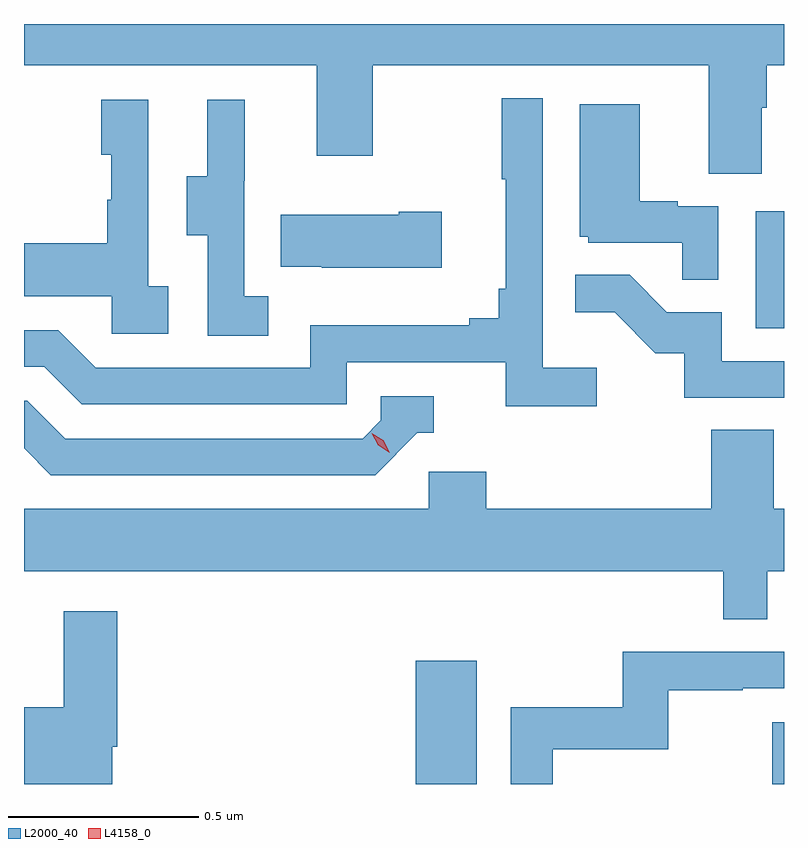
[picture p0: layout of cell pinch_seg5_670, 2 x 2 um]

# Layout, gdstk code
import gdstk
lib = gdstk.Library(unit=1e-6, precision=1e-09)
def R(c, l, rs):  # rectangles x0, y0, x1, y1
    for r in rs: c.add(gdstk.rectangle(r[:2], r[2:], *l))
def P(c, l, *ps):  # polygons
    for p in ps: c.add(gdstk.Polygon(p, *l))
L2000_40 = (2000, 40)
L4158_0 = (4158, 0)

pinch_seg5_670 = lib.new_cell('pinch_seg5_670')
R(pinch_seg5_670, L2000_40, [(1069.118,833.556,1069.279,833.881), (1070.056,833.556,1070.087,833.718), (1070.012,834.756,1070.087,835.063)])
P(pinch_seg5_670, L2000_40, [(1070.029,835.336),(1070.042,835.336),(1070.042,835.448),(1070.087,835.448),(1070.087,835.556),(1068.087,835.556),(1068.087,835.448),(1068.857,835.448),(1068.857,835.209),(1069.005,835.209),(1069.005,835.448),(1069.889,835.448),(1069.889,835.162),(1070.029,835.162)],
  [(1069.594,834.652),(1069.452,834.652),(1069.452,835.36),(1069.344,835.36),(1069.344,835.147),(1069.355,835.147),(1069.355,834.859),(1069.336,834.859),(1069.336,834.782),(1069.259,834.782),(1069.259,834.763),(1068.84,834.763),(1068.84,834.651),(1068.276,834.651),(1068.177,834.75),(1068.087,834.75),(1068.087,834.654),(1068.14,834.654),(1068.239,834.555),(1068.936,834.555),(1068.936,834.666),(1069.355,834.666),(1069.355,834.55),(1069.594,834.55)],
  [(1068.73,834.839),(1068.666,834.839),(1068.666,835.143),(1068.668,835.143),(1068.668,835.357),(1068.569,835.357),(1068.569,835.155),(1068.515,835.155),(1068.515,835),(1068.57,835),(1068.57,834.736),(1068.73,834.736)],
  [(1068.466,834.866),(1068.414,834.866),(1068.414,835.357),(1068.29,835.357),(1068.29,835.212),(1068.316,835.212),(1068.316,835.094),(1068.306,835.094),(1068.306,834.979),(1068.087,834.979),(1068.087,834.839),(1068.318,834.839),(1068.318,834.741),(1068.466,834.741)],
  [(1069.914,835.077),(1069.808,835.077),(1069.808,835.09),(1069.708,835.09),(1069.708,835.345),(1069.55,835.345),(1069.55,834.996),(1069.572,834.996),(1069.572,834.981),(1069.819,834.981),(1069.819,834.883),(1069.914,834.883)],
  [(1069.186,835.062),(1069.073,835.062),(1069.073,835.054),(1068.763,835.054),(1068.763,834.917),(1068.871,834.917),(1068.871,834.914),(1069.186,834.914)],
  [(1070.087,834.669),(1069.923,834.669),(1069.923,834.798),(1069.779,834.798),(1069.681,834.896),(1069.537,834.896),(1069.537,834.797),(1069.641,834.797),(1069.748,834.69),(1069.825,834.69),(1069.825,834.573),(1070.087,834.573)],
  [(1069.122,834.48),(1069.165,834.48),(1069.165,834.576),(1069.026,834.576),(1069.026,834.513),(1068.978,834.465),(1068.195,834.465),(1068.096,834.564),(1068.087,834.564),(1068.087,834.44),(1068.158,834.369),(1069.011,834.369)],
  [(1070.043,834.116),(1070.087,834.116),(1070.087,834.28),(1070.06,834.28),(1070.06,834.488),(1069.895,834.488),(1069.895,834.28),(1069.304,834.28),(1069.304,834.378),(1069.152,834.378),(1069.152,834.28),(1068.087,834.28),(1068.087,834.116),(1069.927,834.116),(1069.927,833.989),(1070.043,833.989)],
  [(1068.319,833.654),(1068.332,833.654),(1068.332,834.01),(1068.191,834.01),(1068.191,833.758),(1068.087,833.758),(1068.087,833.556),(1068.319,833.556)],
  [(1069.478,833.648),(1069.783,833.648),(1069.783,833.803),(1069.979,833.803),(1069.979,833.808),(1070.087,833.808),(1070.087,833.904),(1069.662,833.904),(1069.662,833.758),(1069.368,833.758),(1069.368,833.556),(1069.478,833.556)])
P(pinch_seg5_670, L4158_0, [(1069.05,834.428),(1069.019,834.447),(1069.002,834.479),(1069.002,834.479),(1069.002,834.479),(1069.033,834.46),(1069.05,834.428),(1069.05,834.428)])

lib.write_gds('pinch_seg5_670.gds')
